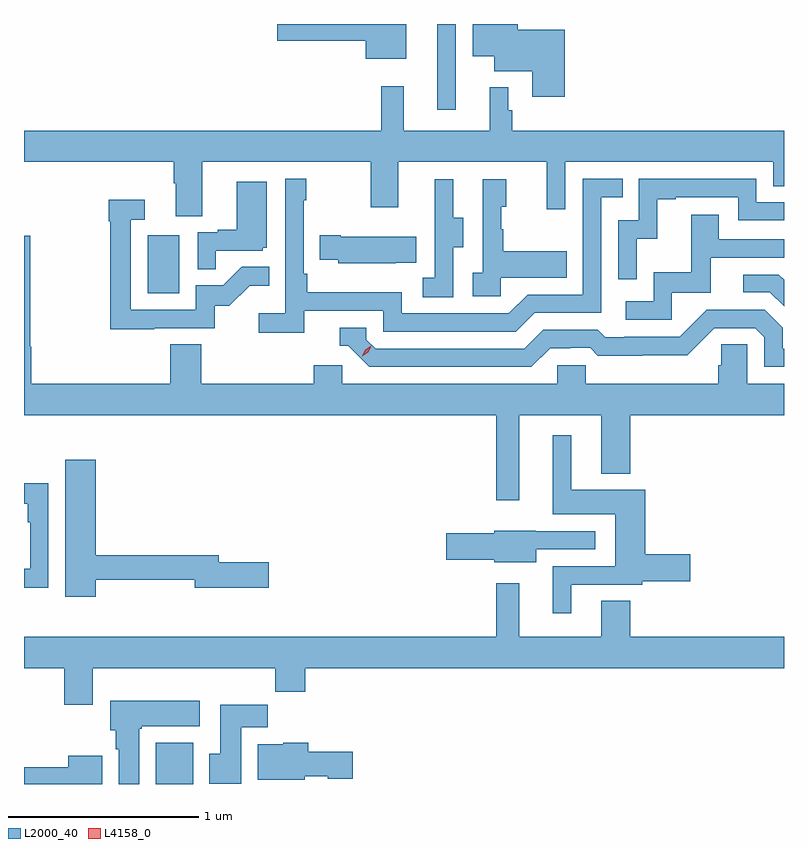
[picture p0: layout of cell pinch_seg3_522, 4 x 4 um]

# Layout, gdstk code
import gdstk
lib = gdstk.Library(unit=1e-6, precision=1e-09)
def R(c, l, rs):  # rectangles x0, y0, x1, y1
    for r in rs: c.add(gdstk.rectangle(r[:2], r[2:], *l))
def P(c, l, *ps):  # polygons
    for p in ps: c.add(gdstk.Polygon(p, *l))
L2000_40 = (2000, 40)
L4158_0 = (4158, 0)

pinch_seg3_522 = lib.new_cell('pinch_seg3_522')
R(pinch_seg3_522, L2000_40, [(1125.956,704.302,1126.153,704.518), (1125.914,706.884,1126.078,707.191), (1127.438,707.85,1127.535,708.302)])
P(pinch_seg3_522, L2000_40, [(1127.275,708.302),(1126.596,708.302),(1126.596,708.214),(1127.06,708.214),(1127.06,708.119),(1127.275,708.119)],
  [(1128.107,708.271),(1127.86,708.271),(1127.86,708.302),(1127.624,708.302),(1127.624,708.131),(1127.738,708.131),(1127.738,708.053),(1127.936,708.053),(1127.936,707.919),(1128.107,707.919)],
  [(1126.201,707.576),(1127.086,707.576),(1127.086,707.337),(1127.233,707.337),(1127.233,707.576),(1128.014,707.576),(1128.014,707.328),(1128.111,707.328),(1128.111,707.576),(1129.206,707.576),(1129.206,707.449),(1129.262,707.449),(1129.262,707.74),(1127.831,707.74),(1127.831,707.847),(1127.811,707.847),(1127.811,707.968),(1127.714,707.968),(1127.714,707.74),(1127.261,707.74),(1127.261,707.974),(1127.143,707.974),(1127.143,707.74),(1125.262,707.74),(1125.262,707.576),(1126.049,707.576),(1126.049,707.464),(1126.061,707.464),(1126.061,707.29),(1126.201,707.29)],
  [(1126.736,706.794),(1127.154,706.794),(1127.154,706.683),(1127.851,706.683),(1127.95,706.782),(1128.3,706.782),(1128.3,707.391),(1128.413,707.391),(1128.413,707.487),(1128.204,707.487),(1128.204,706.878),(1127.913,706.878),(1127.814,706.779),(1127.25,706.779),(1127.25,706.891),(1126.754,706.891),(1126.754,706.987),(1126.734,706.987),(1126.734,707.375),(1126.747,707.375),(1126.747,707.488),(1126.638,707.488),(1126.638,706.78),(1126.497,706.78),(1126.497,706.678),(1126.736,706.678)],
  [(1128.486,707.171),(1128.596,707.171),(1128.596,707.379),(1128.691,707.379),(1128.691,707.391),(1129.02,707.391),(1129.02,707.268),(1129.262,707.268),(1129.262,707.364),(1129.116,707.364),(1129.116,707.487),(1128.498,707.487),(1128.498,707.268),(1128.39,707.268),(1128.39,706.959),(1128.486,706.959)],
  [(1127.772,706.967),(1128.119,706.967),(1128.119,707.107),(1127.785,707.107),(1127.785,707.222),(1127.775,707.222),(1127.775,707.34),(1127.8,707.34),(1127.8,707.485),(1127.676,707.485),(1127.676,706.994),(1127.625,706.994),(1127.625,706.869),(1127.772,706.869)],
  [(1127.52,707.128),(1127.575,707.128),(1127.575,707.283),(1127.521,707.283),(1127.521,707.485),(1127.423,707.485),(1127.423,707.271),(1127.424,707.271),(1127.424,706.967),(1127.361,706.967),(1127.361,706.864),(1127.52,706.864)],
  [(1126.271,707.109),(1126.518,707.109),(1126.518,707.124),(1126.54,707.124),(1126.54,707.473),(1126.382,707.473),(1126.382,707.218),(1126.283,707.218),(1126.283,707.205),(1126.176,707.205),(1126.176,707.011),(1126.271,707.011)],
  [(1125.947,706.701),(1126.266,706.701),(1126.266,706.818),(1126.342,706.818),(1126.449,706.925),(1126.553,706.925),(1126.553,707.024),(1126.409,707.024),(1126.311,706.926),(1126.167,706.926),(1126.167,706.797),(1125.825,706.797),(1125.825,707.271),(1125.898,707.271),(1125.898,707.377),(1125.709,707.377),(1125.709,707.264),(1125.717,707.264),(1125.717,706.696),(1125.947,706.696)],
  [(1128.672,706.887),(1128.877,706.887),(1128.877,707.073),(1129.262,707.073),(1129.262,707.169),(1128.919,707.169),(1128.919,707.299),(1128.775,707.299),(1128.775,706.996),(1128.576,706.996),(1128.576,706.842),(1128.429,706.842),(1128.429,706.746),(1128.672,706.746)],
  [(1127.219,707.045),(1127.327,707.045),(1127.327,707.182),(1126.93,707.182),(1126.93,707.19),(1126.819,707.19),(1126.819,707.06),(1126.917,707.06),(1126.917,707.042),(1127.219,707.042)],
  [(1126.938,706.506),(1126.787,706.506),(1126.787,706.408),(1126.196,706.408),(1126.196,706.616),(1126.031,706.616),(1126.031,706.408),(1125.299,706.408),(1125.299,706.604),(1125.294,706.604),(1125.294,707.187),(1125.262,707.187),(1125.262,706.244),(1127.748,706.244),(1127.748,705.795),(1127.869,705.795),(1127.869,706.244),(1128.299,706.244),(1128.299,705.935),(1128.452,705.935),(1128.452,706.244),(1129.262,706.244),(1129.262,706.408),(1129.068,706.408),(1129.068,706.616),(1128.931,706.616),(1128.931,706.506),(1128.917,706.506),(1128.917,706.408),(1128.219,706.408),(1128.219,706.506),(1128.069,706.506),(1128.069,706.408),(1126.938,706.408)],
  [(1129.262,706.955),(1129.234,706.983),(1129.047,706.983),(1129.047,706.89),(1129.188,706.89),(1129.262,706.816)],
  [(1128.031,706.596),(1128.138,706.596),(1128.138,706.599),(1128.241,706.599),(1128.283,706.557),(1128.516,706.557),(1128.516,706.559),(1128.752,706.559),(1128.894,706.701),(1129.11,706.701),(1129.158,706.653),(1129.158,706.497),(1129.262,706.497),(1129.262,706.593),(1129.255,706.593),(1129.255,706.703),(1129.161,706.797),(1128.855,706.797),(1128.714,706.656),(1128.421,706.656),(1128.421,706.653),(1128.322,706.653),(1128.283,706.692),(1127.994,706.692),(1127.895,706.593),(1127.112,706.593),(1127.064,706.641),(1127.064,706.704),(1126.925,706.704),(1126.925,706.608),(1126.968,706.608),(1127.079,706.497),(1127.932,706.497)],
  [(1128.142,705.351),(1128.516,705.351),(1128.516,705.37),(1128.769,705.37),(1128.769,705.512),(1128.533,705.512),(1128.533,705.85),(1128.142,705.85),(1128.142,706.138),(1128.044,706.138),(1128.044,705.722),(1128.374,705.722),(1128.374,705.447),(1128.044,705.447),(1128.044,705.201),(1128.142,705.201)],
  [(1125.64,705.378),(1126.16,705.378),(1126.16,705.335),(1126.549,705.335),(1126.549,705.47),(1126.288,705.47),(1126.288,705.506),(1125.64,705.506),(1125.64,706.009),(1125.479,706.009),(1125.479,705.288),(1125.64,705.288)],
  [(1125.39,705.886),(1125.262,705.886),(1125.262,705.776),(1125.281,705.776),(1125.281,705.68),(1125.294,705.68),(1125.294,705.435),(1125.262,705.435),(1125.262,705.334),(1125.39,705.334)],
  [(1127.959,705.537),(1128.268,705.537),(1128.268,705.633),(1127.955,705.633),(1127.955,705.634),(1127.736,705.634),(1127.736,705.623),(1127.484,705.623),(1127.484,705.481),(1127.736,705.481),(1127.736,705.47),(1127.959,705.47)],
  [(1125.625,704.912),(1126.585,704.912),(1126.585,704.788),(1126.742,704.788),(1126.742,704.912),(1129.262,704.912),(1129.262,705.076),(1128.452,705.076),(1128.452,705.266),(1128.299,705.266),(1128.299,705.076),(1127.869,705.076),(1127.869,705.358),(1127.748,705.358),(1127.748,705.076),(1125.262,705.076),(1125.262,704.912),(1125.473,704.912),(1125.473,704.718),(1125.625,704.718)],
  [(1125.868,704.593),(1125.882,704.593),(1125.882,704.606),(1126.186,704.606),(1126.186,704.74),(1125.716,704.74),(1125.716,704.586),(1125.746,704.586),(1125.746,704.486),(1125.761,704.486),(1125.761,704.302),(1125.868,704.302)],
  [(1126.405,704.6),(1126.544,704.6),(1126.544,704.719),(1126.295,704.719),(1126.295,704.46),(1126.238,704.46),(1126.238,704.304),(1126.405,704.304)],
  [(1126.74,704.342),(1126.86,704.342),(1126.86,704.33),(1126.993,704.33),(1126.993,704.472),(1126.757,704.472),(1126.757,704.518),(1126.626,704.518),(1126.626,704.512),(1126.493,704.512),(1126.493,704.324),(1126.74,704.324)],
  [(1125.673,704.452),(1125.494,704.452),(1125.494,704.39),(1125.262,704.39),(1125.262,704.302),(1125.673,704.302)])
P(pinch_seg3_522, L4158_0, [(1127.042,706.553),(1127.042,706.554),(1127.058,706.587),(1127.088,706.607),(1127.089,706.607),(1127.089,706.606),(1127.073,706.574),(1127.042,706.553)])

lib.write_gds('pinch_seg3_522.gds')
